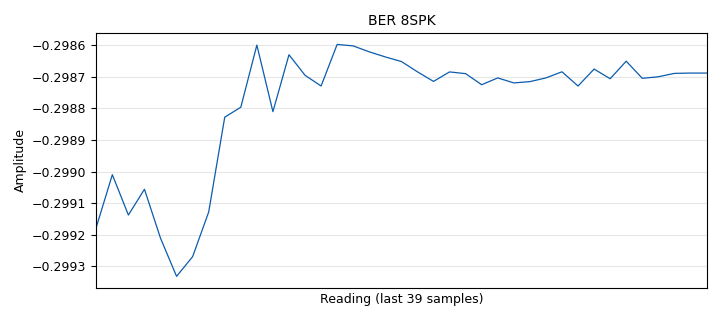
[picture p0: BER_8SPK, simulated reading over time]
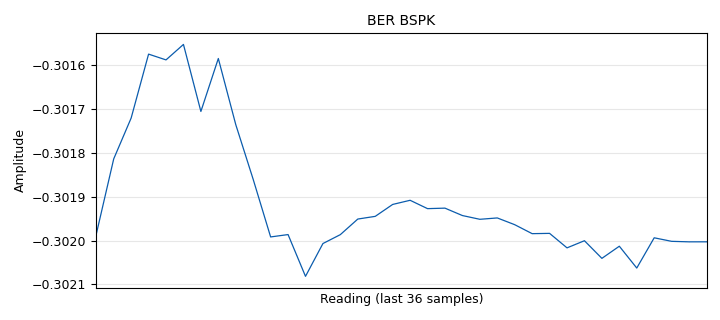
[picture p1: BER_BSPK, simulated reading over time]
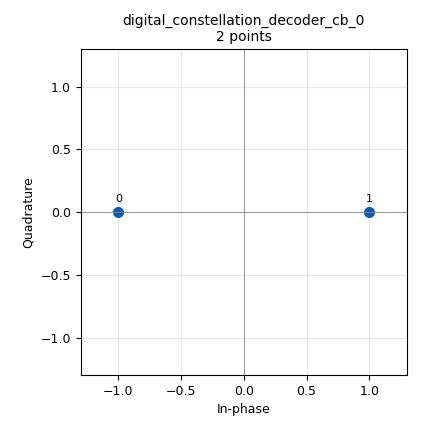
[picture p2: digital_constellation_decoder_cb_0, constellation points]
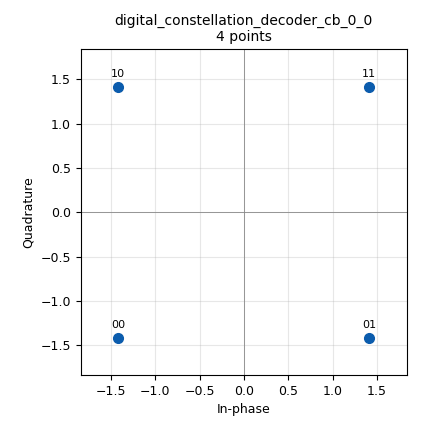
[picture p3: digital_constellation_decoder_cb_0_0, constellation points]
options:
  parameters:
    author: root
    generate_options: qt_gui
    id: Lab4
    output_language: python
    title: Not titled yet
  states: {}

blocks:
- name: samp_rate
  id: variable
  parameters:
    value: '32000'
  states: {}
- name: BER_8SPK
  id: qtgui_number_sink
  parameters:
    graph_type: qtgui.NUM_GRAPH_HORIZ
    min: '0'
    name: '"BER 8SPK"'
    type: float
    update_time: '0.5'
  states: {}
- name: BER_BSPK
  id: qtgui_number_sink
  parameters:
    graph_type: qtgui.NUM_GRAPH_HORIZ
    min: '0'
    name: '"BER BSPK"'
    type: float
    update_time: '0.5'
  states: {}
- name: BER_QSPK
  id: qtgui_number_sink
  parameters:
    graph_type: qtgui.NUM_GRAPH_HORIZ
    min: '0'
    name: '"BER QSPK"'
    type: float
    update_time: '0.5'
  states: {}
- name: analog_noise_source_x_0
  id: analog_noise_source_x
  parameters:
    amp: '1'
    noise_type: analog.GR_GAUSSIAN
    seed: '0'
    type: complex
  states: {}
- name: analog_noise_source_x_0_0
  id: analog_noise_source_x
  parameters:
    amp: '1'
    noise_type: analog.GR_GAUSSIAN
    seed: '0'
    type: complex
  states: {}
- name: analog_noise_source_x_0_0_0
  id: analog_noise_source_x
  parameters:
    amp: '1'
    noise_type: analog.GR_GAUSSIAN
    seed: '0'
    type: complex
  states: {}
- name: analog_random_source_x_0
  id: analog_random_source_x
  parameters:
    max: '256'
    min: '0'
    num_samps: '1000'
    repeat: 'True'
    type: byte
  states: {}
- name: blocks_add_xx_0
  id: blocks_add_xx
  parameters:
    type: complex
  states: {}
- name: blocks_add_xx_0_0
  id: blocks_add_xx
  parameters:
    type: complex
  states: {}
- name: blocks_add_xx_0_0_0
  id: blocks_add_xx
  parameters:
    type: complex
  states: {}
- name: digital_chunks_to_symbols_xx_0
  id: digital_chunks_to_symbols_xx
  parameters:
    dimension: '2'
    in_type: byte
    out_type: complex
    symbol_table: '[-1+0j,1+0j]'
  states: {}
- name: digital_chunks_to_symbols_xx_0_0
  id: digital_chunks_to_symbols_xx
  parameters:
    dimension: '4'
    in_type: byte
    out_type: complex
    symbol_table: '[-1+1j,1+1j,-1-1j,1-1j]'
  states: {}
- name: digital_chunks_to_symbols_xx_0_0_0
  id: digital_chunks_to_symbols_xx
  parameters:
    dimension: '8'
    in_type: byte
    out_type: complex
    symbol_table: '[1+0j,0.707+0.707j,0+1j,-0.707+0.707j,-1+0j,-0.707-0.707j,0-1j,0.707-0.707j]'
  states: {}
- name: digital_constellation_decoder_cb_0
  id: digital_constellation_decoder_cb
  parameters:
    constellation: digital.constellation_bpsk().base()
  states: {}
- name: digital_constellation_decoder_cb_0_0
  id: digital_constellation_decoder_cb
  parameters:
    constellation: digital.constellation_qpsk().base()
  states: {}
- name: digital_constellation_decoder_cb_0_0_0
  id: digital_constellation_decoder_cb
  parameters:
    constellation: digital.constellation_8psk().base()
  states: {}
- name: fec_ber_bf_0
  id: fec_ber_bf
  parameters:
    test_mode: 'False'
  states: {}
- name: fec_ber_bf_0_0
  id: fec_ber_bf
  parameters:
    test_mode: 'False'
  states: {}
- name: fec_ber_bf_0_1
  id: fec_ber_bf
  parameters:
    test_mode: 'False'
  states: {}
- name: qtgui_number_sink_0
  id: qtgui_number_sink
  parameters:
    graph_type: qtgui.NUM_GRAPH_HORIZ
    min: '0'
    name: '"BSPK"'
    type: byte
    update_time: '0.5'
  states: {}
- name: qtgui_number_sink_0_0
  id: qtgui_number_sink
  parameters:
    graph_type: qtgui.NUM_GRAPH_HORIZ
    max: '3'
    min: '0'
    name: '"QSPK"'
    type: byte
    update_time: '0.5'
  states: {}
- name: qtgui_number_sink_0_0_0
  id: qtgui_number_sink
  parameters:
    graph_type: qtgui.NUM_GRAPH_HORIZ
    max: '8'
    min: '0'
    name: '"8SPK"'
    type: byte
    update_time: '0.5'
  states: {}

connections:
- [analog_noise_source_x_0, '0', blocks_add_xx_0, '1']
- [analog_noise_source_x_0_0, '0', blocks_add_xx_0_0, '1']
- [analog_noise_source_x_0_0_0, '0', blocks_add_xx_0_0_0, '1']
- [analog_random_source_x_0, '0', digital_chunks_to_symbols_xx_0, '0']
- [analog_random_source_x_0, '0', digital_chunks_to_symbols_xx_0_0, '0']
- [analog_random_source_x_0, '0', digital_chunks_to_symbols_xx_0_0_0, '0']
- [analog_random_source_x_0, '0', fec_ber_bf_0, '0']
- [analog_random_source_x_0, '0', fec_ber_bf_0_0, '0']
- [analog_random_source_x_0, '0', fec_ber_bf_0_1, '0']
- [blocks_add_xx_0, '0', digital_constellation_decoder_cb_0, '0']
- [blocks_add_xx_0_0, '0', digital_constellation_decoder_cb_0_0, '0']
- [blocks_add_xx_0_0_0, '0', digital_constellation_decoder_cb_0_0_0, '0']
- [digital_chunks_to_symbols_xx_0, '0', blocks_add_xx_0, '0']
- [digital_chunks_to_symbols_xx_0_0, '0', blocks_add_xx_0_0, '0']
- [digital_chunks_to_symbols_xx_0_0_0, '0', blocks_add_xx_0_0_0, '0']
- [digital_constellation_decoder_cb_0, '0', fec_ber_bf_0, '1']
- [digital_constellation_decoder_cb_0, '0', qtgui_number_sink_0, '0']
- [digital_constellation_decoder_cb_0_0, '0', fec_ber_bf_0_0, '1']
- [digital_constellation_decoder_cb_0_0, '0', qtgui_number_sink_0_0, '0']
- [digital_constellation_decoder_cb_0_0_0, '0', fec_ber_bf_0_1, '1']
- [digital_constellation_decoder_cb_0_0_0, '0', qtgui_number_sink_0_0_0, '0']
- [fec_ber_bf_0, '0', BER_BSPK, '0']
- [fec_ber_bf_0_0, '0', BER_QSPK, '0']
- [fec_ber_bf_0_1, '0', BER_8SPK, '0']

metadata:
  file_format: 1
  grc_version: 3.10.9.2
